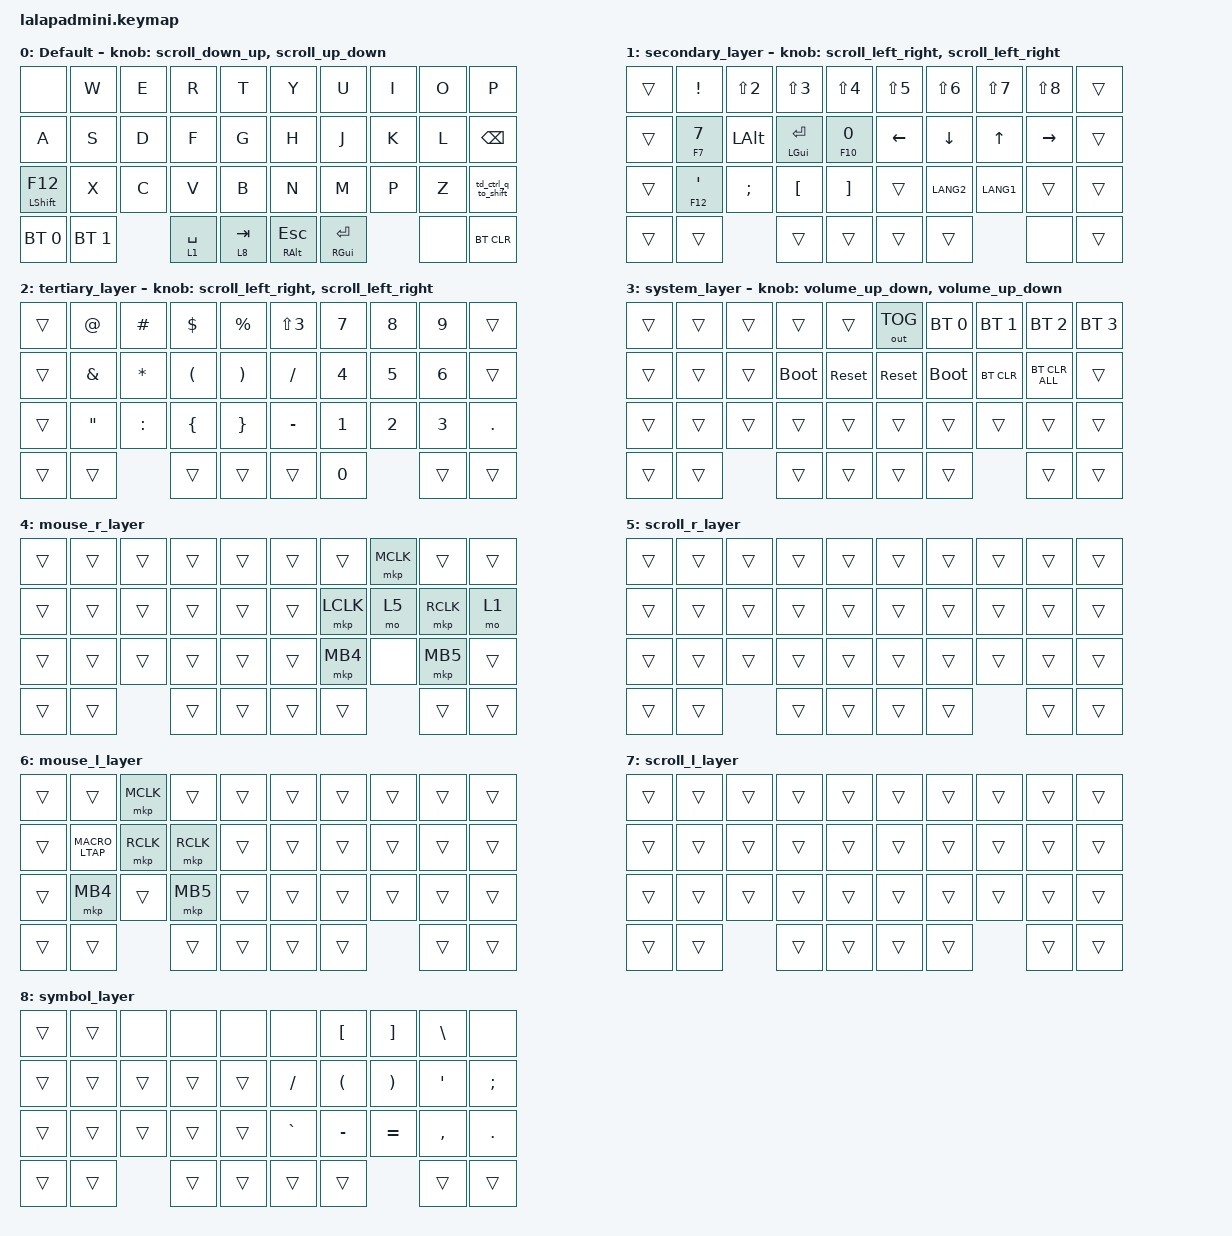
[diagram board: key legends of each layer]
#include <input/processors.dtsi>
#include <behaviors.dtsi>
#include <dt-bindings/zmk/bt.h>
#include <dt-bindings/zmk/keys.h>
#include <dt-bindings/zmk/outputs.h>
#include <dt-bindings/zmk/pointing.h>

#define DEFAULT_LAYER   0
#define SECONDARY_LAYER 1
#define TERTIARY_LAYER  2
#define SYSTEM_LAYER    3
#define MOUSE_R_LAYER   4
#define SCROLL_R_LAYER  5
#define MOUSE_L_LAYER   6
#define SCROLL_L_LAYER  7

// Mouse Scroll Value

#define ZMK_POINTING_DEFAULT_SCRL_VAL 100

// cirque trackpad input&layer control

&glidepoint_listener_R {
    input-processors =
        <&zip_xy_transform (INPUT_TRANSFORM_XY_SWAP | INPUT_TRANSFORM_X_INVERT | INPUT_TRANSFORM_Y_INVERT)>,
        // cursor speed. e.g.  2 / 1 == 2倍,
        <&zip_xy_scaler 6 2>,
        <&zip_temp_layer MOUSE_R_LAYER 300>;

    lowspeedmode {
        layers = <SECONDARY_LAYER>;
        input-processors =
            <&zip_xy_transform (INPUT_TRANSFORM_XY_SWAP | INPUT_TRANSFORM_X_INVERT | INPUT_TRANSFORM_Y_INVERT)>,
            <&zip_xy_scaler 3 2>,
            <&zip_temp_layer MOUSE_R_LAYER 300>;
    };

    scroller {
        layers = <SCROLL_R_LAYER>;
        input-processors =
            <&zip_xy_to_scroll_mapper>,
            // <&zip_scroll_transform (INPUT_TRANSFORM_XY_SWAP | INPUT_TRANSFORM_Y_INVERT)>,
            <&zip_scroll_transform (INPUT_TRANSFORM_XY_SWAP)>,
            <&zip_scroll_scaler 1 16>;
    };
};

&glidepoint_listener_L {
    input-processors =
        <&zip_xy_transform (INPUT_TRANSFORM_XY_SWAP | INPUT_TRANSFORM_X_INVERT | INPUT_TRANSFORM_Y_INVERT)>,
        <&zip_xy_scaler 3 2>,
        <&zip_temp_layer MOUSE_L_LAYER 300>;

    lowspeedmode {
        layers = <TERTIARY_LAYER>;
        input-processors =
            <&zip_xy_transform (INPUT_TRANSFORM_XY_SWAP | INPUT_TRANSFORM_X_INVERT | INPUT_TRANSFORM_Y_INVERT)>,
            <&zip_xy_scaler 3 4>,
            <&zip_temp_layer MOUSE_L_LAYER 300>;
    };

    scroller {
        layers = <SCROLL_L_LAYER>;
        input-processors =
            <&zip_xy_to_scroll_mapper>,
            <&zip_scroll_transform (INPUT_TRANSFORM_XY_SWAP | INPUT_TRANSFORM_Y_INVERT)>,
            <&zip_scroll_scaler 1 32>;
    };
};

&mt { tapping-term-ms = <130>; };

&lt { tapping-term-ms = <130>; };

/ {
    behaviors {
        // Encoder to Mouse Scroll

        scroll_up_down: behavior_sensor_rotate_mouse_wheel_up_down {
            compatible = "zmk,behavior-sensor-rotate";
            #sensor-binding-cells = <0>;
            bindings = <&msc SCRL_UP>, <&msc SCRL_DOWN>;

            tap-ms = <20>;
        };

        scroll_down_up: behavior_sensor_rotate_mouse_wheel_down_up {
            compatible = "zmk,behavior-sensor-rotate";
            #sensor-binding-cells = <0>;
            bindings = <&msc SCRL_DOWN>, <&msc SCRL_UP>;

            tap-ms = <20>;
        };

        scroll_left_right: behavior_sensor_rotate_mouse_wheel_left_right {
            compatible = "zmk,behavior-sensor-rotate";
            #sensor-binding-cells = <0>;
            bindings = <&msc SCRL_LEFT>, <&msc SCRL_RIGHT>;

            tap-ms = <20>;
        };

        scroll_right_left: behavior_sensor_rotate_mouse_wheel_right_left {
            compatible = "zmk,behavior-sensor-rotate";
            #sensor-binding-cells = <0>;
            bindings = <&msc SCRL_RIGHT>, <&msc SCRL_LEFT>;

            tap-ms = <20>;
        };

        volume_up_down: behavior_sensor_rotate_volume_up_down {
            compatible = "zmk,behavior-sensor-rotate";
            #sensor-binding-cells = <0>;
            bindings = <&kp C_VOLUME_UP>, <&kp C_VOLUME_DOWN>;

            tap-ms = <20>;
        };

        mt2: mod_tap2 {
            compatible = "zmk,behavior-hold-tap";
            #binding-cells = <2>;
            flavor = "tap-preferred";
            tapping-term-ms = <200>;
            quick-tap-ms = <200>;
            require-prior-idle-ms = <125>;
            bindings = <&kp>, <&kp>;
        };

        tap_dance_layer_1and2: tap_dance_layer_1and2 {
            compatible = "zmk,behavior-tap-dance";
            label = "td_mo12";
            #binding-cells = <0>;
            bindings = <&mo 1>, <&mo 2>;
        };

        td_shift_f12_to_mumpad: td_shift_f12_to_mumpad {
            compatible = "zmk,behavior-tap-dance";
            label = "TD_SHIFT_F12_TO_MUMPAD";
            #binding-cells = <0>;
            bindings = <&mt LEFT_SHIFT F12>, <&mo 2>;

            tapping-term-ms = <200>;
        };

        td_ctrl_q_to_shift: td_ctrl_q_to_shift {
            compatible = "zmk,behavior-tap-dance";
            label = "TD_CTRL_Q_TO_SHIFT";
            #binding-cells = <0>;
            bindings = <&mt RIGHT_CONTROL Q>, <&kp RIGHT_SHIFT>;
        };
    };

    combos {
        compatible = "zmk,combos";

        enable_numpad {
            bindings = <&mo 2>;
            key-positions = <10 32>;
        };
    };

    macros {
        MACRO_LTAP: MACRO_LTAP {
            compatible = "zmk,behavior-macro";
            #binding-cells = <0>;
            bindings = <&mkp LCLK>;
            label = "MACRO_LTAP";
        };
    };

    keymap {
        compatible = "zmk,keymap";

        DEFAULT_LAYER {
            display-name = "Default";
            sensor-bindings = <&scroll_down_up>, <&scroll_up_down>;

            bindings = <
&none               &kp W         &kp E  &kp R        &kp T      &kp Y                 &kp U                 &kp I  &kp O  &kp P
&kp A               &kp S         &kp D  &kp F        &kp G      &kp H                 &kp J                 &kp K  &kp L  &kp BACKSPACE
&mt LEFT_SHIFT F12  &kp X         &kp C  &kp V        &kp B      &kp N                 &kp M                 &kp P  &kp Z  &td_ctrl_q_to_shift
&bt BT_SEL 0        &bt BT_SEL 1         &lt 1 SPACE  &lt 8 TAB  &mt RIGHT_ALT ESCAPE  &mt RIGHT_GUI RETURN         &none  &bt BT_CLR
            >;
        };

        SECONDARY_LAYER {
            display-name = "secondary_layer";
            sensor-bindings = <&scroll_left_right>, <&scroll_left_right>;

            bindings = <
&trans  &kp EXCLAMATION  &kp LS(NUMBER_2)  &kp LS(NUMBER_3)    &kp LS(NUMBER_4)   &kp LS(NUMBER_5)  &kp LS(NUMBER_6)  &kp LS(NUMBER_7)  &kp LS(N8)  &trans
&trans  &mt2 F7 N7       &kp LEFT_ALT      &mt LEFT_GUI ENTER  &mt2 F10 N0        &kp LEFT          &kp DOWN          &kp UP_ARROW      &kp RIGHT   &trans
&trans  &mt2 F12 SQT     &kp SEMICOLON     &kp LEFT_BRACKET    &kp RIGHT_BRACKET  &trans            &kp LANG2         &kp LANG1         &trans      &trans
&trans  &trans                             &trans              &trans             &trans            &trans                              &none       &trans
            >;
        };

        TERTIARY_LAYER {
            display-name = "tertiary_layer";
            bindings = <
&trans  &kp AT_SIGN        &kp HASH      &kp DOLLAR            &kp PERCENT            &kp LS(NUMBER_3)  &kp NUMBER_7  &kp NUMBER_8  &kp NUMBER_9  &trans
&trans  &kp AMPERSAND      &kp ASTERISK  &kp LEFT_PARENTHESIS  &kp RIGHT_PARENTHESIS  &kp SLASH         &kp NUMBER_4  &kp NUMBER_5  &kp NUMBER_6  &trans
&trans  &kp DOUBLE_QUOTES  &kp COLON     &kp LEFT_BRACE        &kp RIGHT_BRACE        &kp MINUS         &kp NUMBER_1  &kp NUMBER_2  &kp NUMBER_3  &kp PERIOD
&trans  &trans                           &trans                &trans                 &trans            &kp NUMBER_0                &trans        &trans
            >;

            sensor-bindings = <&scroll_left_right>, <&scroll_left_right>;
        };

        SYSTEM_LAYER {
            display-name = "system_layer";
            sensor-bindings = <&volume_up_down>, <&volume_up_down>;

            bindings = <
&trans  &trans  &trans  &trans       &trans      &out OUT_TOG  &bt BT_SEL 0  &bt BT_SEL 1  &bt BT_SEL 2    &bt BT_SEL 3
&trans  &trans  &trans  &bootloader  &sys_reset  &sys_reset    &bootloader   &bt BT_CLR    &bt BT_CLR_ALL  &trans
&trans  &trans  &trans  &trans       &trans      &trans        &trans        &trans        &trans          &trans
&trans  &trans          &trans       &trans      &trans        &trans                      &trans          &trans
            >;
        };

        MOUSE_R_LAYER {
            display-name = "mouse_r_layer";
            bindings = <
&trans  &trans  &trans  &trans  &trans  &trans  &trans     &mkp MCLK  &trans     &trans
&trans  &trans  &trans  &trans  &trans  &trans  &mkp LCLK  &mo 5      &mkp RCLK  &mo 1
&trans  &trans  &trans  &trans  &trans  &trans  &mkp MB4   &none      &mkp MB5   &trans
&trans  &trans          &trans  &trans  &trans  &trans                &trans     &trans
            >;
        };

        SCROLL_R_LAYER {
            display-name = "scroll_r_layer";
            bindings = <
&trans  &trans  &trans  &trans  &trans  &trans  &trans  &trans  &trans  &trans
&trans  &trans  &trans  &trans  &trans  &trans  &trans  &trans  &trans  &trans
&trans  &trans  &trans  &trans  &trans  &trans  &trans  &trans  &trans  &trans
&trans  &trans          &trans  &trans  &trans  &trans          &trans  &trans
            >;
        };

        MOUSE_L_LAYER {
            display-name = "mouse_l_layer";
            bindings = <
&trans  &trans       &mkp MCLK  &trans     &trans  &trans  &trans  &trans  &trans  &trans
&trans  &MACRO_LTAP  &mkp RCLK  &mkp RCLK  &trans  &trans  &trans  &trans  &trans  &trans
&trans  &mkp MB4     &trans     &mkp MB5   &trans  &trans  &trans  &trans  &trans  &trans
&trans  &trans                  &trans     &trans  &trans  &trans          &trans  &trans
            >;
        };

        SCROLL_L_LAYER {
            display-name = "scroll_l_layer";
            bindings = <
&trans  &trans  &trans  &trans  &trans  &trans  &trans  &trans  &trans  &trans
&trans  &trans  &trans  &trans  &trans  &trans  &trans  &trans  &trans  &trans
&trans  &trans  &trans  &trans  &trans  &trans  &trans  &trans  &trans  &trans
&trans  &trans          &trans  &trans  &trans  &trans          &trans  &trans
            >;
        };

        symbol_layer {
            bindings = <
&trans  &trans  &none   &none   &none   &none      &kp LEFT_BRACKET      &kp RIGHT_BRACKET      &kp BACKSLASH  &none
&trans  &trans  &trans  &trans  &trans  &kp SLASH  &kp LEFT_PARENTHESIS  &kp RIGHT_PARENTHESIS  &kp SQT        &kp SEMICOLON
&trans  &trans  &trans  &trans  &trans  &kp GRAVE  &kp MINUS             &kp EQUAL              &kp COMMA      &kp PERIOD
&trans  &trans          &trans  &trans  &trans     &trans                                       &trans         &trans
            >;
        };
    };

    conditional_layers {
        compatible = "zmk,conditional-layers";

        System_layer {
            if-layers = <1 2>;
            then-layer = <3>;
        };
    };
};
